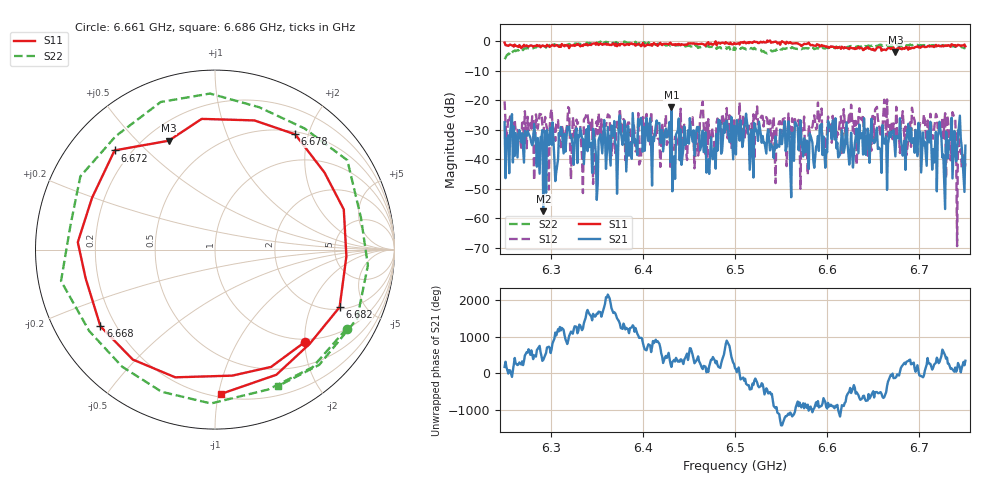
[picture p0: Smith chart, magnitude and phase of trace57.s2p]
# Hz S RI R 50
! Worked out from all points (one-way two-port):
!   401 points, 6.25 GHz to 6.75 GHz, reference 50 ohm
!   highest |S21| = -22.24 dB at 6.431 GHz (marker M1); lowest = -57.6 dB at 6.292 GHz (marker M2)
!   lowest |S11| = -3.6 dB at 6.674 GHz (marker M3), VSWR 4.87, Z = 14.5 + j31.1 ohm
!   |S11| at or under -10 dB: nowhere
!   |S22| runs from -6.0 to 0.0 dB; largest |S21 - S12| = 0.12
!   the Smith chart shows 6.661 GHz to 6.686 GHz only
!   S11 on the Smith chart (normalised r, x): 6.661 GHz: 0.94, -2.00; 6.668 GHz: 0.14, -0.30; 6.672 GHz: 0.14, +0.40; 6.678 GHz: 0.54, +1.79; 6.682 GHz: 2.11, -3.27; 6.686 GHz: 0.22, -1.02
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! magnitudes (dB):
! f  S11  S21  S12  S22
! 6.25 GHz  -0.5  -27.5  -20.4  -6.0
! 6.292 GHz  -1.5  -57.6  -30.9  -1.8
! 6.3 GHz  -1.5  -29.3  -24.5  -1.2
! 6.306 GHz  -1.3  -44.5  -28.0  -1.4
! 6.334 GHz  -1.4  -32.8  -39.5  -0.7
! 6.339 GHz  -0.9  -29.8  -24.2  -0.5
! 6.35 GHz  -0.5  -53.8  -27.1  -0.4
! 6.355 GHz  -0.9  -34.6  -26.5  -0.5
! 6.418 GHz  -0.8  -27.7  -33.5  -0.9
! 6.431 GHz  -1.0  -22.2  -26.8  -1.5
! 6.5 GHz  -0.8  -30.3  -33.4  -2.9
! 6.584 GHz  -1.2  -34.4  -29.0  -2.2
! 6.661 GHz  -2.9  -33.8  -24.4  -1.4
! 6.668 GHz  -2.3  -30.9  -28.4  -1.6
! 6.672 GHz  -2.1  -30.2  -27.9  -1.4
! 6.674 GHz  -3.6  -39.0  -33.1  -1.5
! 6.678 GHz  -2.1  -33.0  -32.7  -1.6
! 6.682 GHz  -2.3  -38.8  -23.7  -1.3
! 6.686 GHz  -1.9  -33.4  -38.6  -1.5
! 6.738 GHz  -1.3  -30.4  -26.0  -1.7
! 6.742 GHz  -1.2  -32.6  -30.2  -1.9
! 6.75 GHz  -1.7  -35.4  -41.4  -2.2
